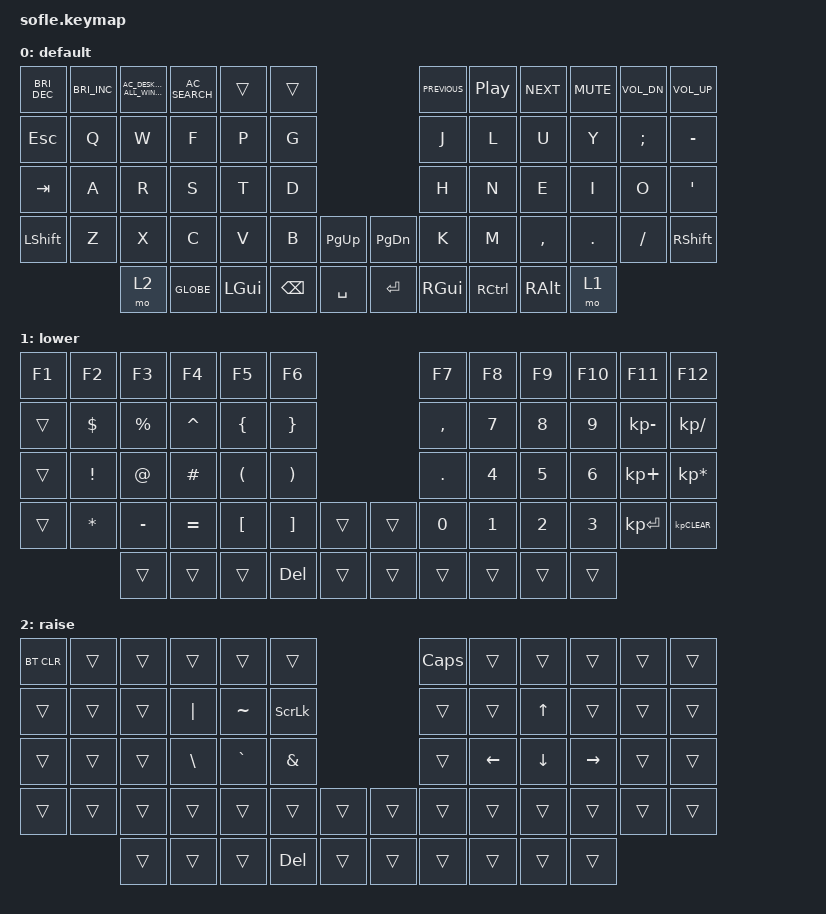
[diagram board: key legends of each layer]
#include <behaviors.dtsi>
#include <dt-bindings/zmk/bt.h>
#include <dt-bindings/zmk/keys.h>

/ {
    keymap {
        compatible = "zmk,keymap";

        default {
            bindings = <
&kp C_BRIGHTNESS_DEC  &kp C_BRIGHTNESS_INC  &kp C_AC_DESKTOP_SHOW_ALL_WINDOWS  &kp C_AC_SEARCH  &trans    &trans                                  &kp C_PREVIOUS  &kp C_PLAY_PAUSE  &kp C_NEXT  &kp C_MUTE  &kp C_VOL_DN  &kp C_VOL_UP
&kp ESC               &kp Q                 &kp W                              &kp F            &kp P     &kp G                                   &kp J           &kp L             &kp U       &kp Y       &kp SEMI      &kp MINUS
&kp TAB               &kp A                 &kp R                              &kp S            &kp T     &kp D                                   &kp H           &kp N             &kp E       &kp I       &kp O         &kp SQT
&kp LSHFT             &kp Z                 &kp X                              &kp C            &kp V     &kp B     &kp PAGE_UP    &kp PAGE_DOWN  &kp K           &kp M             &kp COMMA   &kp DOT     &kp FSLH      &kp RSHFT
                                            &mo 2                              &kp GLOBE        &kp LGUI  &kp BSPC  &kp SPACE      &kp RET        &kp RGUI        &kp RCTRL         &kp RALT    &mo 1
            >;
        };

        lower {
            bindings = <
&kp F1  &kp F2      &kp F3       &kp F4     &kp F5            &kp F6                               &kp F7     &kp F8  &kp F9  &kp F10  &kp F11       &kp F12
&trans  &kp DOLLAR  &kp PERCENT  &kp CARET  &kp LEFT_BRACE    &kp RIGHT_BRACE                      &kp COMMA  &kp N7  &kp N8  &kp N9   &kp KP_MINUS  &kp KP_DIVIDE
&trans  &kp EXCL    &kp AT       &kp HASH   &kp LPAR          &kp RPAR                             &kp DOT    &kp N4  &kp N5  &kp N6   &kp KP_PLUS   &kp KP_MULTIPLY
&trans  &kp STAR    &kp MINUS    &kp EQUAL  &kp LEFT_BRACKET  &kp RIGHT_BRACKET  &trans    &trans  &kp N0     &kp N1  &kp N2  &kp N3   &kp KP_ENTER  &kp KP_CLEAR
                    &trans       &trans     &trans            &kp DELETE         &trans    &trans  &trans     &trans  &trans  &trans
            >;
        };

        raise {
            bindings = <
&bt BT_CLR  &trans  &trans  &trans         &trans     &trans                            &kp CAPS  &trans    &trans    &trans     &trans  &trans
&trans      &trans  &trans  &kp PIPE       &kp TILDE  &kp SCROLLLOCK                    &trans    &trans    &kp UP    &trans     &trans  &trans
&trans      &trans  &trans  &kp BACKSLASH  &kp GRAVE  &kp AMPS                          &trans    &kp LEFT  &kp DOWN  &kp RIGHT  &trans  &trans
&trans      &trans  &trans  &trans         &trans     &trans          &trans    &trans  &trans    &trans    &trans    &trans     &trans  &trans
                    &trans  &trans         &trans     &kp DELETE      &trans    &trans  &trans    &trans    &trans    &trans
            >;
        };
    };
};
